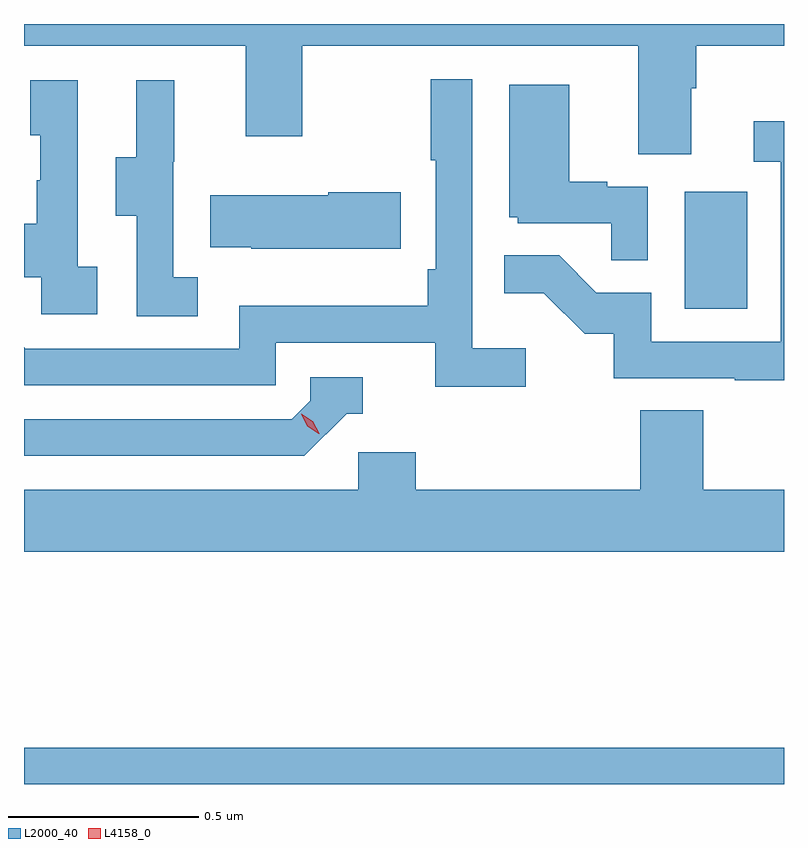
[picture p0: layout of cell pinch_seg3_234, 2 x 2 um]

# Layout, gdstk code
import gdstk
lib = gdstk.Library(unit=1e-6, precision=1e-09)
def R(c, l, rs):  # rectangles x0, y0, x1, y1
    for r in rs: c.add(gdstk.rectangle(r[:2], r[2:], *l))
def P(c, l, *ps):  # polygons
    for p in ps: c.add(gdstk.Polygon(p, *l))
L2000_40 = (2000, 40)
L4158_0 = (4158, 0)

pinch_seg3_234 = lib.new_cell('pinch_seg3_234')
R(pinch_seg3_234, L2000_40, [(922.863,732.273,924.863,732.368), (924.602,733.524,924.766,733.831)])
P(pinch_seg3_234, L2000_40, [(924.619,734.104),(924.632,734.104),(924.632,734.216),(924.863,734.216),(924.863,734.273),(922.863,734.273),(922.863,734.216),(923.447,734.216),(923.447,733.977),(923.595,733.977),(923.595,734.216),(924.479,734.216),(924.479,733.93),(924.619,733.93)],
  [(924.184,733.42),(924.042,733.42),(924.042,734.128),(923.934,734.128),(923.934,733.915),(923.946,733.915),(923.946,733.627),(923.926,733.627),(923.926,733.531),(923.43,733.531),(923.43,733.419),(922.866,733.419),(922.863,733.422),(922.863,733.323),(923.526,733.323),(923.526,733.434),(923.945,733.434),(923.945,733.318),(924.184,733.318)],
  [(923.32,733.607),(923.256,733.607),(923.256,733.911),(923.258,733.911),(923.258,734.125),(923.159,734.125),(923.159,733.923),(923.105,733.923),(923.105,733.768),(923.16,733.768),(923.16,733.504),(923.32,733.504)],
  [(923.056,733.634),(923.004,733.634),(923.004,734.125),(922.88,734.125),(922.88,733.98),(922.906,733.98),(922.906,733.862),(922.896,733.862),(922.896,733.747),(922.863,733.747),(922.863,733.607),(922.908,733.607),(922.908,733.509),(923.056,733.509)],
  [(924.504,733.845),(924.398,733.845),(924.398,733.858),(924.298,733.858),(924.298,734.113),(924.14,734.113),(924.14,733.764),(924.162,733.764),(924.162,733.749),(924.409,733.749),(924.409,733.651),(924.504,733.651)],
  [(924.863,734.017),(924.783,734.017),(924.783,733.911),(924.855,733.911),(924.855,733.437),(924.513,733.437),(924.513,733.566),(924.369,733.566),(924.271,733.664),(924.127,733.664),(924.127,733.565),(924.231,733.565),(924.338,733.458),(924.415,733.458),(924.415,733.341),(924.733,733.341),(924.733,733.336),(924.863,733.336)],
  [(923.854,733.83),(923.663,733.83),(923.663,733.822),(923.353,733.822),(923.353,733.685),(923.461,733.685),(923.461,733.682),(923.854,733.682)],
  [(923.712,733.248),(923.755,733.248),(923.755,733.344),(923.616,733.344),(923.616,733.281),(923.568,733.233),(922.863,733.233),(922.863,733.137),(923.601,733.137)],
  [(924.863,733.048),(924.65,733.048),(924.65,733.256),(924.485,733.256),(924.485,733.048),(923.894,733.048),(923.894,733.146),(923.742,733.146),(923.742,733.048),(922.863,733.048),(922.863,732.884),(924.863,732.884)])
P(pinch_seg3_234, L4158_0, [(923.639,733.195),(923.609,733.215),(923.592,733.247),(923.592,733.248),(923.593,733.248),(923.623,733.228),(923.64,733.196),(923.64,733.195)])

lib.write_gds('pinch_seg3_234.gds')
